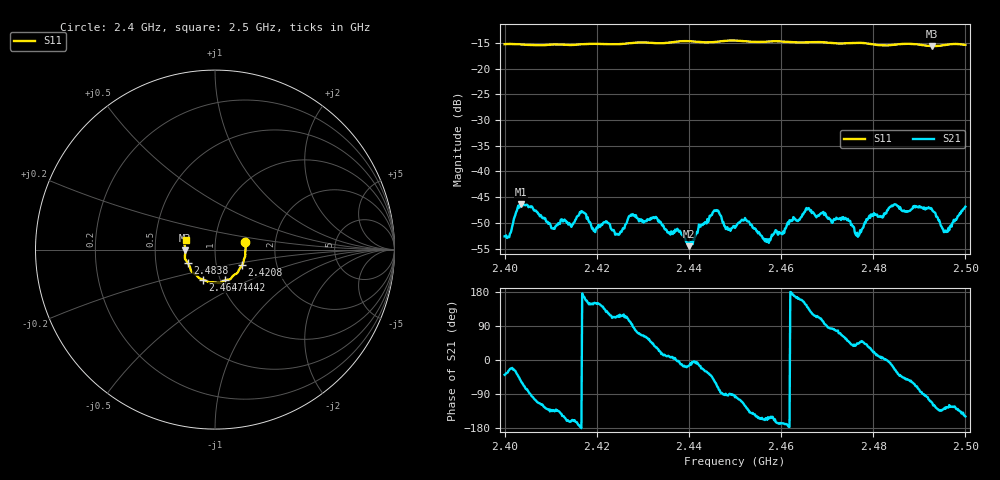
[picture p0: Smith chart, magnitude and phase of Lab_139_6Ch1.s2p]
# Hz S RI R
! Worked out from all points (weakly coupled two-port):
!   601 points, 2.4 GHz to 2.5 GHz, reference 50 ohm
!   highest |S21| = -46.31 dB at 2.4035 GHz (marker M1); lowest = -54.5 dB at 2.44 GHz (marker M2)
!   lowest |S11| = -15.6 dB at 2.4928 GHz (marker M3), VSWR 1.40, Z = 35.8 - j0.368 ohm
!   |S11| at or under -10 dB: start of sweep to end of sweep
!   S12 and S22 are empty: the file has one direction only
!   S11 on the Smith chart (normalised r, x): 2.4 GHz: 1.40, +0.12; 2.4208 GHz: 1.33, -0.24; 2.4442 GHz: 1.05, -0.37; 2.4647 GHz: 0.83, -0.29; 2.4838 GHz: 0.73, -0.11; 2.5 GHz: 0.72, +0.08
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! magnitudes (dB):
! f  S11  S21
! 2.4 GHz  -15.2  -52.6
! 2.4035 GHz  -15.3  -46.3
! 2.4105 GHz  -15.3  -51.1
! 2.4167 GHz  -15.3  -47.7
! 2.4208 GHz  -15.2  -50.6
! 2.4245 GHz  -15.2  -52.2
! 2.4275 GHz  -15.0  -48.4
! 2.4333 GHz  -15.0  -49.7
! 2.44 GHz  -14.6  -54.5
! 2.4442 GHz  -14.9  -49.9
! 2.446 GHz  -14.8  -47.5
! 2.45 GHz  -14.5  -51.0
! 2.4525 GHz  -14.7  -49.5
! 2.457 GHz  -14.7  -53.3
! 2.4647 GHz  -14.9  -48.3
! 2.4667 GHz  -14.8  -48.1
! 2.4765 GHz  -15.0  -51.9
! 2.4833 GHz  -15.5  -47.2
! 2.4838 GHz  -15.4  -46.8
! 2.4928 GHz  -15.6  -47.6
! 2.4957 GHz  -15.4  -51.5
! 2.5 GHz  -15.4  -46.9
